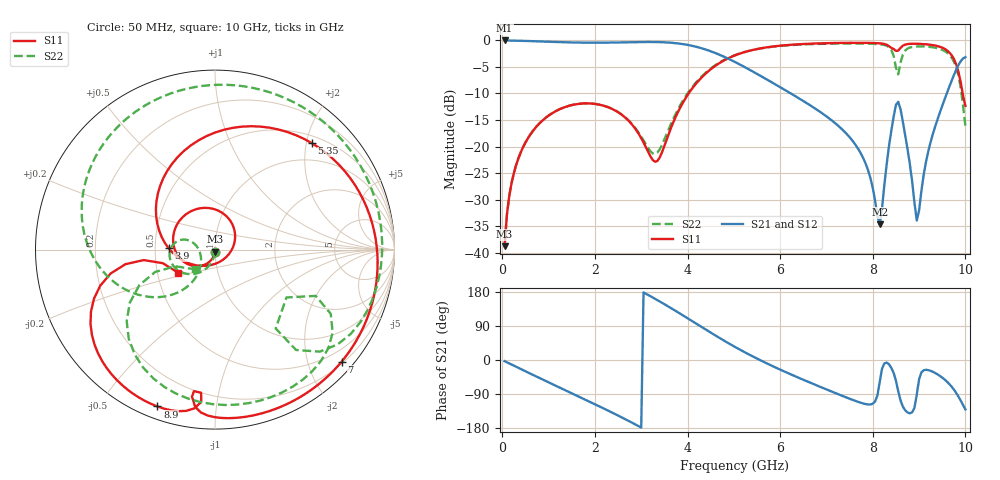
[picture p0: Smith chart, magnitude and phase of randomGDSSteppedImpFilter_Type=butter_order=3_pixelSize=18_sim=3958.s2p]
! freq	dB(S11)	phase(S11)	dB(S12)	phase(S12)
!  dB(S21)	phase(S21)	dB(S22)	phase(S22)
!S-par simulation data
#  GHz  S  DB  R 50
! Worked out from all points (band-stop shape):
!   200 points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, 50 MHz to 10 GHz, reference 50 ohm
!   highest |S21| = -0.01 dB at 50 MHz (marker M1); lowest = -34.7 dB at 8.15 GHz (marker M2)
!   |S21| within 3 dB of the highest: start of sweep to 4.771 GHz
!   lowest |S11| = -38.8 dB at 50 MHz (marker M3), VSWR 1.02, Z = 49.9 - j1.15 ohm
!   |S11| at or under -10 dB: start of sweep to 4.024 GHz; 9.941 GHz to end of sweep
!   |S22| runs from -38.8 to -0.6 dB; largest |S21 - S12| = 0
!   S11 on the Smith chart (normalised r, x): 50 MHz: 1.00, -0.02; 3.9 GHz: 0.59, +0.01; 5.35 GHz: 0.63, +2.11; 7 GHz: 0.24, -2.62; 8.9 GHz: 0.05, -0.70; 10 GHz: 0.64, -0.18
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0.05  -38.78 -92.9  -0.01 -3.0  -0.01 -3.0  -38.76 -90.3
0.2  -26.89 -104.5  -0.03 -12.0  -0.03 -12.0  -26.87 -99.2
0.5  -19.25 -126.9  -0.09 -29.8  -0.09 -29.8  -19.22 -113.4
1.75  -11.88 141.5  -0.42 -102.2  -0.42 -102.2  -11.86 -166.9
2.7  -14.90 60.9  -0.35 -159.0  -0.35 -159.0  -14.85 162.0
3.4  -22.05 -88.3  -0.32 154.5  -0.32 154.5  -20.51 -145.3
3.9  -11.74 178.2  -0.69 117.9  -0.69 117.9  -11.34 -127.6
4.4  -6.18 125.9  -1.74 79.8  -1.74 79.8  -6.01 -150.1
5.05  -2.73 69.8  -4.18 32.8  -4.18 32.8  -2.68 172.9
5.35  -1.92 47.7  -5.57 13.1  -5.57 13.1  -1.91 155.9
6.7  -0.60 -28.2  -12.52 -62.5  -12.52 -62.5  -0.69 79.9
7  -0.52 -41.5  -14.31 -77.7  -14.31 -77.7  -0.62 61.9
7.8  -0.46 -73.6  -22.30 -114.9  -22.30 -114.9  -0.59 9.5
8.15  -0.55 -87.8  -34.69 -57.5  -34.69 -57.5  -0.72 -17.4
8.35  -1.08 -97.2  -19.92 -11.2  -19.92 -11.2  -1.27 -37.6
8.55  -1.92 -95.5  -11.57 -82.5  -11.57 -82.5  -6.39 -33.8
8.65  -0.99 -97.4  -15.33 -123.0  -15.33 -123.0  -2.65 -29.0
8.9  -0.62 -110.2  -30.58 -126.2  -30.58 -126.2  -1.17 -55.9
8.95  -0.63 -112.5  -33.94 -91.6  -33.94 -91.6  -1.13 -60.4
9.35  -0.97 -132.4  -16.15 -34.4  -16.15 -34.4  -1.38 -95.4
9.7  -2.75 -157.9  -7.65 -69.9  -7.65 -69.9  -3.21 -134.0
10  -12.35 -147.6  -3.15 -130.3  -3.15 -130.3  -16.09 -135.6
